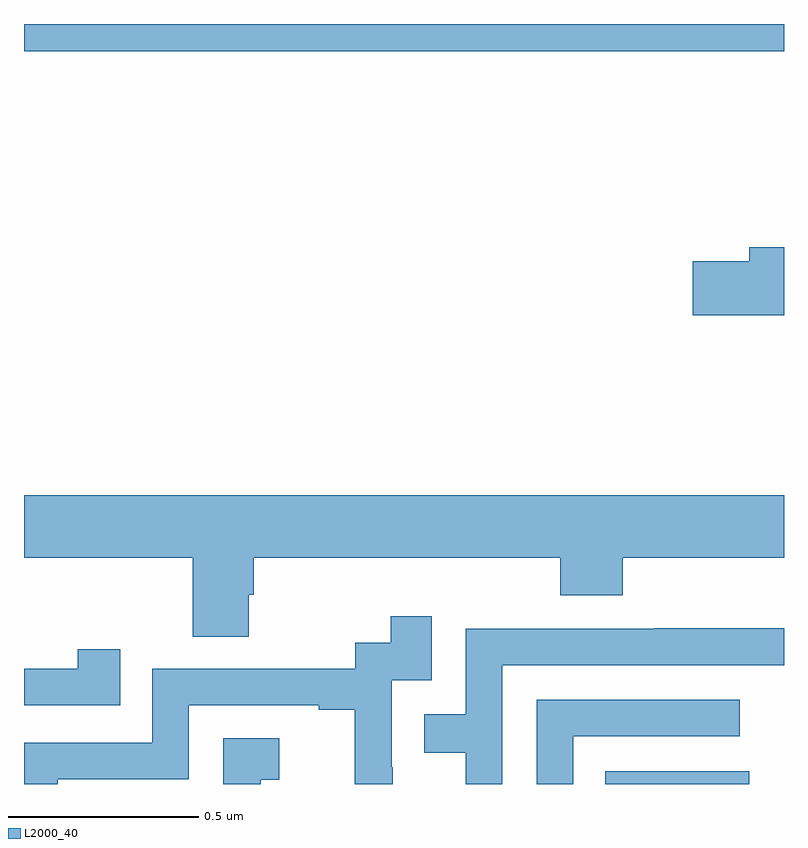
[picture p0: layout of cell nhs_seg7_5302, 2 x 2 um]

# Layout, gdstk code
import gdstk
lib = gdstk.Library(unit=1e-6, precision=1e-09)
def R(c, l, rs):  # rectangles x0, y0, x1, y1
    for r in rs: c.add(gdstk.rectangle(r[:2], r[2:], *l))
def P(c, l, *ps):  # polygons
    for p in ps: c.add(gdstk.Polygon(p, *l))
L2000_40 = (2000, 40)

nhs_seg7_5302 = lib.new_cell('nhs_seg7_5302')
R(nhs_seg7_5302, L2000_40, [(185.53,1020,185.908,1020.034), (184,1021.928,186,1022)])
P(nhs_seg7_5302, L2000_40, [(186,1021.412),(185.909,1021.412),(185.909,1021.376),(185.76,1021.376),(185.76,1021.234),(186,1021.234)],
  [(184.591,1020.498),(184.604,1020.498),(184.604,1020.596),(185.411,1020.596),(185.411,1020.497),(185.576,1020.497),(185.576,1020.596),(186,1020.596),(186,1020.76),(184,1020.76),(184,1020.596),(184.444,1020.596),(184.444,1020.388),(184.591,1020.388)],
  [(184.089,1020.012),(184.434,1020.012),(184.434,1020.207),(184.775,1020.207),(184.775,1020.195),(184.871,1020.195),(184.871,1020),(184.97,1020),(184.97,1020.044),(184.968,1020.044),(184.968,1020.273),(185.073,1020.273),(185.073,1020.442),(184.965,1020.442),(184.965,1020.372),(184.872,1020.372),(184.872,1020.303),(184.338,1020.303),(184.338,1020.108),(184,1020.108),(184,1020),(184.089,1020)],
  [(185.259,1020.312),(186,1020.312),(186,1020.41),(185.659,1020.41),(185.659,1020.408),(185.163,1020.408),(185.163,1020.183),(185.053,1020.183),(185.053,1020.082),(185.163,1020.082),(185.163,1020),(185.259,1020)],
  [(184.253,1020.355),(184.142,1020.355),(184.142,1020.303),(184,1020.303),(184,1020.207),(184.253,1020.207)],
  [(185.445,1020.126),(185.884,1020.126),(185.884,1020.222),(185.349,1020.222),(185.349,1020),(185.445,1020)],
  [(184.623,1020.011),(184.672,1020.011),(184.672,1020.121),(184.524,1020.121),(184.524,1020),(184.623,1020)])

lib.write_gds('nhs_seg7_5302.gds')
